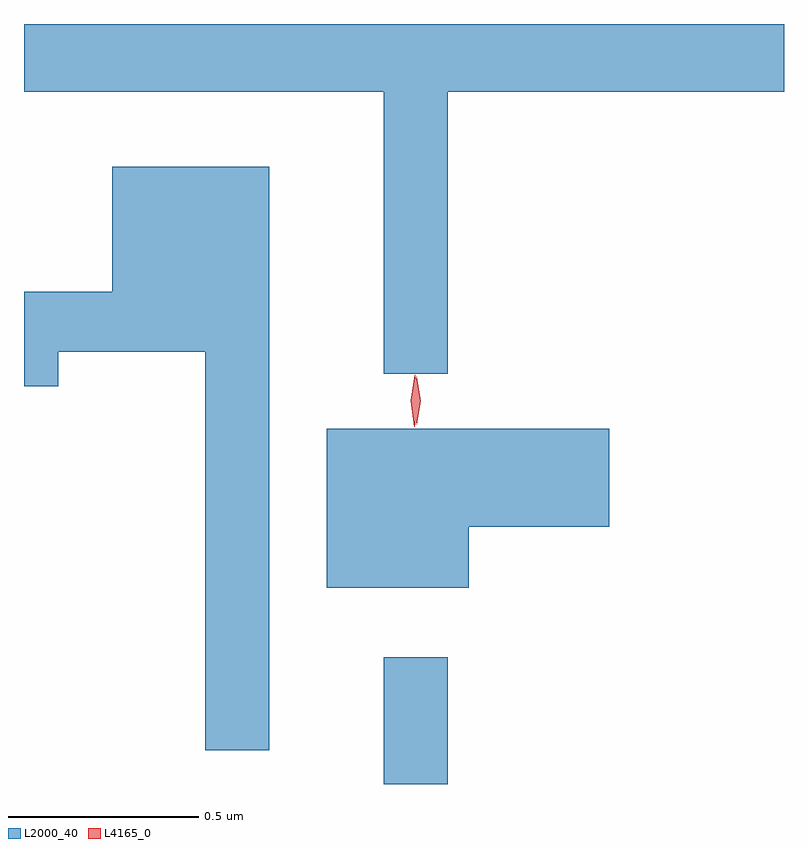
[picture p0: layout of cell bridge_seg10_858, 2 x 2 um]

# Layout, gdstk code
import gdstk
lib = gdstk.Library(unit=1e-6, precision=1e-09)
def R(c, l, rs):  # rectangles x0, y0, x1, y1
    for r in rs: c.add(gdstk.rectangle(r[:2], r[2:], *l))
def P(c, l, *ps):  # polygons
    for p in ps: c.add(gdstk.Polygon(p, *l))
L2000_40 = (2000, 40)
L4165_0 = (4165, 0)

bridge_seg10_858 = lib.new_cell('bridge_seg10_858')
R(bridge_seg10_858, L2000_40, [(391.391,2085.454,391.559,2085.788)])
P(bridge_seg10_858, L2000_40, [(391.559,2087.276),(392.444,2087.276),(392.444,2087.454),(390.444,2087.454),(390.444,2087.276),(391.391,2087.276),(391.391,2086.533),(391.559,2086.533)],
  [(391.089,2087.079),(390.676,2087.079),(390.676,2086.749),(390.444,2086.749),(390.444,2086.501),(390.534,2086.501),(390.534,2086.591),(390.921,2086.591),(390.921,2085.543),(391.089,2085.543)],
  [(391.614,2086.131),(391.984,2086.131),(391.984,2086.389),(391.241,2086.389),(391.241,2085.971),(391.614,2085.971)])
P(bridge_seg10_858, L4165_0, [(391.471,2086.394),(391.471,2086.394),(391.462,2086.462),(391.472,2086.53),(391.473,2086.53),(391.473,2086.53),(391.482,2086.462),(391.472,2086.394)],
  [(391.478,2086.4),(391.478,2086.4),(391.468,2086.463),(391.478,2086.526),(391.478,2086.527),(391.478,2086.526),(391.488,2086.463),(391.478,2086.4)])

lib.write_gds('bridge_seg10_858.gds')
